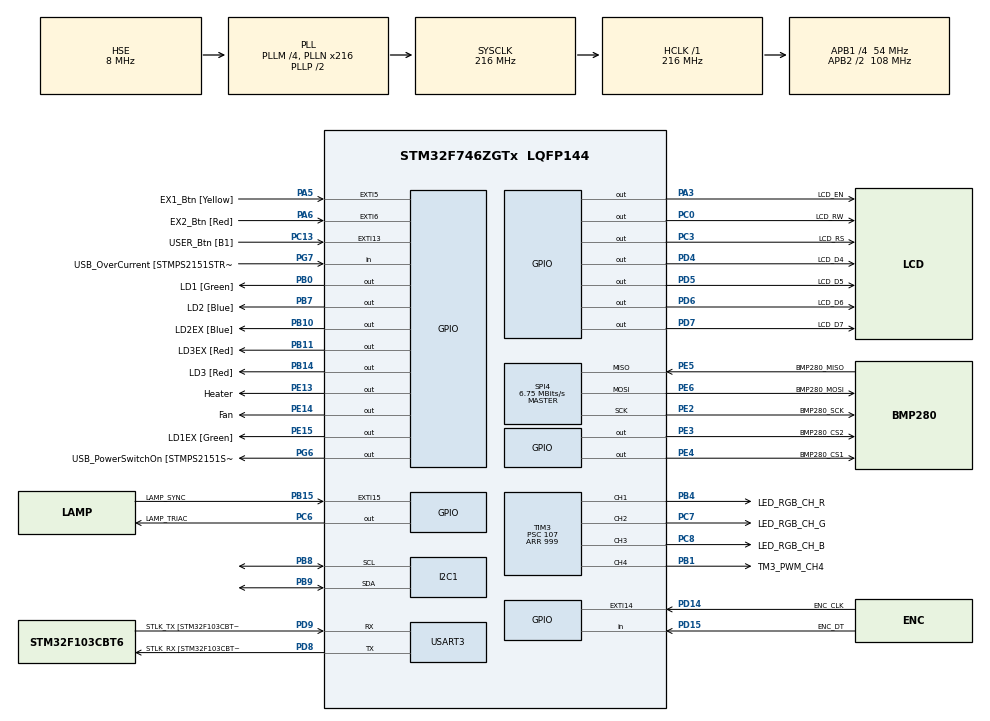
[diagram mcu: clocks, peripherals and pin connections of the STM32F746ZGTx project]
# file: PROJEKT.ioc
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I2C1.Timing=0x20404768
Mcu.Family=STM32F7
Mcu.Name=STM32F746ZGTx
Mcu.Package=LQFP144
NVIC.EXTI15_10_IRQn=true\:0\:0\:false\:false\:true\:true\:true
NVIC.EXTI9_5_IRQn=true\:0\:0\:false\:false\:true\:true\:true
NVIC.PriorityGroup=NVIC_PRIORITYGROUP_4
NVIC.TIM2_IRQn=true\:0\:0\:false\:false\:true\:true\:true
NVIC.TIM4_IRQn=true\:0\:0\:false\:false\:true\:true\:true
NVIC.USART3_IRQn=true\:0\:0\:false\:false\:true\:true\:true
PA1.GPIO_Label=RMII_REF_CLK [LAN8742A-CZ-TR_REFCLK0]
PA1.Signal=ETH_REF_CLK
PA10.GPIO_Label=USB_ID
PA10.Signal=USB_OTG_FS_ID
PA11.GPIO_Label=USB_DM
PA11.Signal=USB_OTG_FS_DM
PA12.GPIO_Label=USB_DP
PA12.Signal=USB_OTG_FS_DP
PA13.GPIO_Label=TMS
PA13.Mode=Serial_Wire
PA13.Signal=SYS_JTMS-SWDIO
PA14.GPIO_Label=TCK
PA14.Mode=Serial_Wire
PA14.Signal=SYS_JTCK-SWCLK
PA2.GPIO_Label=RMII_MDIO [LAN8742A-CZ-TR_MDIO]
PA2.Signal=ETH_MDIO
PA3.GPIO_Label=LCD_EN
PA3.Signal=GPIO_Output
PA5.GPIO_Label=EX1_Btn [Yellow]
PA5.GPIO_ModeDefaultEXTI=GPIO_MODE_IT_FALLING
PA5.Signal=GPXTI5
PA6.GPIO_Label=EX2_Btn [Red]
PA6.GPIO_ModeDefaultEXTI=GPIO_MODE_IT_RISING
PA6.Signal=GPXTI6
PA8.GPIO_Label=USB_SOF [TP1]
PA8.Signal=USB_OTG_FS_SOF
PA9.GPIO_Label=USB_VBUS
PA9.Signal=USB_OTG_FS_VBUS
PB0.GPIO_Label=LD1 [Green]
PB0.Signal=GPIO_Output
PB1.GPIO_Label=TM3_PWM_CH4
PB1.Signal=S_TIM3_CH4
PB10.GPIO_Label=LD2EX [Blue]
PB10.Signal=GPIO_Output
PB11.GPIO_Label=LD3EX [Red]
PB11.Signal=GPIO_Output
PB13.GPIO_Label=RMII_TXD1 [LAN8742A-CZ-TR_TXD1]
PB13.Signal=ETH_TXD1
PB14.GPIO_Label=LD3 [Red]
PB14.Signal=GPIO_Output
PB15.GPIO_Label=LAMP_SYNC
PB15.Signal=GPXTI15
PB3.GPIO_Label=SW0
PB3.Signal=SYS_JTDO-SWO
PB4.GPIO_Label=LED_RGB_CH_R
PB4.Signal=S_TIM3_CH1
PB7.GPIO_Label=LD2 [Blue]
PB7.Signal=GPIO_Output
PB8.GPIO_PuPdOD=GPIO_PULLUP
PB8.GPIO_Speed=GPIO_SPEED_FREQ_HIGH
PB8.Mode=I2C
PB8.Signal=I2C1_SCL
PB9.GPIO_Speed=GPIO_SPEED_FREQ_HIGH
PB9.Mode=I2C
PB9.Signal=I2C1_SDA
PC0.GPIO_Label=LCD_RW
PC0.Signal=GPIO_Output
PC1.GPIO_Label=RMII_MDC [LAN8742A-CZ-TR_MDC]
PC1.Signal=ETH_MDC
PC13.GPIO_Label=USER_Btn [B1]
PC13.Signal=GPXTI13
PC14/OSC32_IN.Mode=LSE-External-Oscillator
PC14/OSC32_IN.Signal=RCC_OSC32_IN
PC15/OSC32_OUT.Mode=LSE-External-Oscillator
PC15/OSC32_OUT.Signal=RCC_OSC32_OUT
PC3.GPIO_Label=LCD_RS
PC3.Signal=GPIO_Output
PC4.GPIO_Label=RMII_RXD0 [LAN8742A-CZ-TR_RXD0]
PC4.Signal=ETH_RXD0
PC5.GPIO_Label=RMII_RXD1 [LAN8742A-CZ-TR_RXD1]
PC5.Signal=ETH_RXD1
PC6.GPIO_Label=LAMP_TRIAC
PC6.GPIO_Speed=GPIO_SPEED_FREQ_HIGH
PC6.Signal=GPIO_Output
PC7.GPIO_Label=LED_RGB_CH_G
PC7.Signal=S_TIM3_CH2
PC8.GPIO_Label=LED_RGB_CH_B
PC8.Signal=S_TIM3_CH3
PD12.GPIO_Label=ENC_TIM_DT
PD12.Signal=S_TIM4_CH1
PD13.GPIO_Label=ENC_TIM_CLK
PD13.Signal=S_TIM4_CH2
PD14.GPIO_Label=ENC_CLK
PD14.GPIO_ModeDefaultEXTI=GPIO_MODE_IT_FALLING
PD14.Signal=GPXTI14
PD15.GPIO_Label=ENC_DT
PD15.Signal=GPIO_Input
PD4.GPIO_Label=LCD_D4
PD4.Signal=GPIO_Output
PD5.GPIO_Label=LCD_D5
PD5.Signal=GPIO_Output
PD6.GPIO_Label=LCD_D6
PD6.Signal=GPIO_Output
PD7.GPIO_Label=LCD_D7
PD7.Signal=GPIO_Output
PD8.GPIO_Label=STLK_RX [STM32F103CBT6_PA3]
PD8.Mode=Asynchronous
PD8.Signal=USART3_TX
PD9.GPIO_Label=STLK_TX [STM32F103CBT6_PA2]
PD9.Mode=Asynchronous
PD9.Signal=USART3_RX
PE13.GPIO_Label=Heater
PE13.Signal=GPIO_Output
PE14.GPIO_Label=Fan
PE14.Signal=GPIO_Output
PE15.GPIO_Label=LD1EX [Green]
PE15.Signal=GPIO_Output
PE2.GPIO_Label=BMP280_SCK
PE2.Mode=Full_Duplex_Master
PE2.Signal=SPI4_SCK
PE3.GPIO_Label=BMP280_CS2
PE3.GPIO_Speed=GPIO_SPEED_FREQ_VERY_HIGH
PE3.PinState=GPIO_PIN_SET
PE3.Signal=GPIO_Output
PE4.GPIO_Label=BMP280_CS1
PE4.GPIO_Speed=GPIO_SPEED_FREQ_VERY_HIGH
PE4.PinState=GPIO_PIN_SET
PE4.Signal=GPIO_Output
PE5.GPIO_Label=BMP280_MISO
PE5.Mode=Full_Duplex_Master
PE5.Signal=SPI4_MISO
PE6.GPIO_Label=BMP280_MOSI
PE6.Mode=Full_Duplex_Master
PE6.Signal=SPI4_MOSI
PG11.GPIO_Label=RMII_TX_EN [LAN8742A-CZ-TR_TXEN]
PG11.Signal=ETH_TX_EN
PG13.GPIO_Label=RMII_TXD0 [LAN8742A-CZ-TR_TXD0]
PG13.Signal=ETH_TXD0
PG6.GPIO_Label=USB_PowerSwitchOn [STMPS2151STR_EN]
PG6.Signal=GPIO_Output
PG7.GPIO_Label=USB_OverCurrent [STMPS2151STR_FAULT]
PG7.Signal=GPIO_Input
PH0/OSC_IN.GPIO_Label=MCO [STM32F103CBT6_PA8]
PH0/OSC_IN.Mode=HSE-External-Clock-Source
PH0/OSC_IN.Signal=RCC_OSC_IN
PH1/OSC_OUT.Mode=HSE-External-Clock-Source
PH1/OSC_OUT.Signal=RCC_OSC_OUT
ProjectManager.HeapSize=0x200
ProjectManager.StackSize=0x400
ProjectManager.TargetToolchain=STM32CubeIDE
RCC.48MHZClocksFreq_Value=24000000
RCC.AHBFreq_Value=216000000
RCC.APB1CLKDivider=RCC_HCLK_DIV4
RCC.APB1Freq_Value=54000000
RCC.APB1TimFreq_Value=108000000
RCC.APB2CLKDivider=RCC_HCLK_DIV2
RCC.APB2Freq_Value=108000000
RCC.APB2TimFreq_Value=216000000
RCC.CortexFreq_Value=216000000
RCC.HCLKFreq_Value=216000000
RCC.HSE_VALUE=8000000
RCC.HSI_VALUE=16000000
RCC.PLLM=4
RCC.PLLMUL=RCC_PLL_MUL9
RCC.PLLN=216
RCC.PLLQ=3
RCC.PLLSourceVirtual=RCC_PLLSOURCE_HSE
RCC.PRESCALERUSB=RCC_USBCLKSOURCE_PLL_DIV1_5
RCC.SYSCLKFreq_VALUE=216000000
RCC.SYSCLKSource=RCC_SYSCLKSOURCE_PLLCLK
RCC.SYSCLKSourceVirtual=RCC_SYSCLKSOURCE_PLLCLK
RCC.USBFreq_Value=144000000
RCC.VCOOutputFreq_Value=432000000
SH.S_TIM3_CH1.0=TIM3_CH1,PWM Generation1 CH1
SH.S_TIM3_CH2.0=TIM3_CH2,PWM Generation2 CH2
SH.S_TIM3_CH3.0=TIM3_CH3,PWM Generation3 CH3
SH.S_TIM3_CH4.0=TIM3_CH4,PWM Generation4 CH4
SH.S_TIM4_CH1.0=TIM4_CH1
SH.S_TIM4_CH2.0=TIM4_CH2
SPI4.BaudRatePrescaler=SPI_BAUDRATEPRESCALER_16
SPI4.CLKPhase=SPI_PHASE_2EDGE
SPI4.CLKPolarity=SPI_POLARITY_HIGH
SPI4.CalculateBaudRate=6.75 MBits/s
SPI4.DataSize=SPI_DATASIZE_8BIT
SPI4.Direction=SPI_DIRECTION_2LINES
SPI4.Mode=SPI_MODE_MASTER
SPI4.VirtualType=VM_MASTER
TIM2.Period=4999
TIM2.Prescaler=107
TIM3.Channel-PWM\ Generation1\ CH1=TIM_CHANNEL_1
TIM3.Channel-PWM\ Generation2\ CH2=TIM_CHANNEL_2
TIM3.Channel-PWM\ Generation3\ CH3=TIM_CHANNEL_3
TIM3.Channel-PWM\ Generation4\ CH4=TIM_CHANNEL_4
TIM3.Period=999
TIM3.Prescaler=107
TIM3.Pulse-PWM\ Generation2\ CH2=0
TIM3.Pulse-PWM\ Generation3\ CH3=0
TIM4.Period=19999
TIM4.Prescaler=107
TIM5.Prescaler=107
TIM6.Period=999
TIM6.Prescaler=107
TIM6.TIM_MasterOutputTrigger=TIM_TRGO_UPDATE
TIM7.Period=999
TIM7.Prescaler=107
USART3.VirtualMode-Asynchronous=VM_ASYNC
VP_TIM2_VS_ClockSourceINT.Mode=Internal
VP_TIM3_VS_ClockSourceINT.Mode=Internal
VP_TIM4_VS_ClockSourceINT.Mode=Internal
VP_TIM5_VS_ClockSourceINT.Mode=Internal
VP_TIM6_VS_ClockSourceINT.Mode=Enable_Timer
VP_TIM7_VS_ClockSourceINT.Mode=Enable_Timer
board=NUCLEO-F746ZG

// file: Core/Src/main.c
/* USER CODE BEGIN Header */
/**
  ******************************************************************************
  * @file           : main.c
  * @brief          : Main program body
  ******************************************************************************
  * @attention
  *
  * <h2><center>&copy; Copyright (c) 2020 STMicroelectronics.
  * All rights reserved.</center></h2>
  *
  * This software component is licensed by ST under BSD 3-Clause license,
  * the "License"; You may not use this file except in compliance with the
  * License. You may obtain a copy of the License at:
  *                        opensource.org/licenses/BSD-3-Clause
  *
  ******************************************************************************
  */
/* USER CODE END Header */
#include "main.h"
#include "i2c.h"
#include "spi.h"
#include "tim.h"
#include "usart.h"
#include "gpio.h"

/* USER CODE BEGIN Includes */
#include "bmp280.h"
#include "stdlib.h"
#include "lcd_config.h"
#include "States.h"
/* USER CODE END Includes */

/* USER CODE BEGIN PD */
#define BMP280_DATA_INDEX 1
#define BMP280_ADDRESS_INDEX 2
const int SPI_BUFFER_LEN= 28;
/* USER CODE END PD */

/* USER CODE BEGIN PV */
TIM_HandleTypeDef htim4;

uint8_t Received[4];
double TempRef=30;
char buffer[100];
uint8_t size;
uint8_t error;
double TempDif=0;
static unsigned short heater_state = 0;
static unsigned short fan_state = 0;
static unsigned short ld1ex_state = 0;
static unsigned short ld2ex_state = 0;
static unsigned short ld3ex_state = 0;
double TempRecived;
float TempSVW=0;
double temp;
/* USER CODE END PV */

void SystemClock_Config(void);
/* USER CODE BEGIN PFP */

/**
 *
 * @brief HAL_UART_RxCpltCallback it's job is to return information
 * if data sent via UART is incorrect,
 * or to set received data as TempRef if data is correct.
 * Also at the same time it's shows information on second line of LCD.
 * To make it easier for user to notice we put LCD screen to sleep for 1s,
 * it doesn't change anything, because with current parts even if we take
 * each read from sensor in 1ms, any change will be noticeable after 1s.
 *
 * @param huart it's a UART3 handler
 */

void HAL_UART_RxCpltCallback (UART_HandleTypeDef *huart)
{
	TempRecived=atof(&Received);
	if (TempRecived < 21.0)
	{
		error = sprintf(buffer,"Incorrect value\n\r ");
		HAL_UART_Transmit(&huart3, (uint8_t*)buffer, error, 200);
		LCD_SetCursor(&hlcd1, 1, 0);
		LCD_printf(&hlcd1, "Incorrect value");
		lcd_delay_us(&hlcd1, 1000000);
		LCD_Clear(&hlcd1);

	}
	else if (TempRecived > 30.0)
	{
		error = sprintf(buffer,"Incorrect value\n\r ");
		HAL_UART_Transmit(&huart3, (uint8_t*)buffer, error, 200);
		LCD_SetCursor(&hlcd1, 1, 0);
		LCD_printf(&hlcd1, "Incorrect value");
		lcd_delay_us(&hlcd1, 1000000);
		LCD_Clear(&hlcd1);
	}
	else
	{
		TempRef=(atof(&Received));
		LCD_SetCursor(&hlcd1, 1, 0);
		LCD_printf(&hlcd1, "Set %4.2f[degC]", TempRef);
		lcd_delay_us(&hlcd1, 1000000);
		LCD_Clear(&hlcd1);
	}

}

int8_t spi_reg_write(uint8_t cs, uint8_t reg_addr, uint8_t *reg_data, uint16_t length);
int8_t spi_reg_read(uint8_t cs, uint8_t reg_addr, uint8_t *reg_data, uint16_t length);
/* USER CODE END PFP */

/* USER CODE BEGIN 0 */

void HAL_TIM_PeriodElapsedCallback(TIM_HandleTypeDef *htim)
{
    if (htim->Instance == TIM4)
        {
    		 /**Transmitting the temperature via UART*/
    		 size = sprintf(buffer,"Temperature %4.2f [degC]\n\r ", temp);
    	     HAL_UART_Transmit(&huart3, (uint8_t*)buffer, size, 100);

    	     /**Transmitting the temperature via LCD*/
    	     LCD_SetCursor(&hlcd1, 0, 0);
    	     LCD_printf(&hlcd1, "Temp %4.2f[degC]" , temp);
        }
}

/* USER CODE END 0 */

int main(void)
{
  /* USER CODE BEGIN 1 */
	int8_t rslt;
	struct bmp280_dev bmp;
	struct bmp280_config conf;
	struct bmp280_uncomp_data ucomp_data;
	int32_t temp32;

  /* USER CODE END 1 */

  /* MCU Configuration--------------------------------------------------------*/

  /* Reset of all peripherals, Initializes the Flash interface and the Systick. */
  HAL_Init();

  /* Configure the system clock */
  SystemClock_Config();

  /* Initialize all configured peripherals */
  MX_GPIO_Init();
  MX_USART3_UART_Init();
  MX_TIM2_Init();
  MX_TIM3_Init();
  MX_TIM4_Init();
  MX_I2C1_Init();
  MX_SPI4_Init();
  MX_TIM5_Init();
  MX_TIM6_Init();
  MX_TIM7_Init();
  /* USER CODE BEGIN 2 */

  bmp.delay_ms=HAL_Delay;
  bmp.dev_id = 0;
  bmp.read = spi_reg_read;
  bmp.write = spi_reg_write;
  bmp.intf = BMP280_SPI_INTF;

 rslt = bmp280_init(&bmp);

 /* Always read the current settings before writing, especially when
  * all the configuration is not modified
  */
 rslt = bmp280_get_config(&conf, &bmp);

 /* configuring the temperature oversampling, filter coefficient and output data rate */
 /* Overwrite the desired settings */
 conf.filter = BMP280_FILTER_COEFF_2;

 /* Temperature oversampling set at 4x */
 conf.os_temp = BMP280_OS_4X;

 /* Pressure over sampling none (disabling pressure measurement) */
 conf.os_pres = BMP280_OS_NONE;

 /* Setting the output data rate as 1HZ(1000ms) */
 conf.odr = BMP280_ODR_1000_MS;
 rslt = bmp280_set_config(&conf, &bmp);

 /* Always set the power mode after setting the configuration */
 rslt = bmp280_set_power_mode(BMP280_NORMAL_MODE, &bmp);

 HAL_TIM_Base_Start_IT(&htim4);

 LCD_Init(&hlcd1);
  /* USER CODE END 2 */

  /* Infinite loop */
  /* USER CODE BEGIN WHILE */
  while (1)
  {
	  /** Reading the raw data from sensor */
     rslt = bmp280_get_uncomp_data(&ucomp_data, &bmp);

     /** Getting the compensated temperature as floating point value */
     rslt = bmp280_get_comp_temp_double(&temp, ucomp_data.uncomp_temp, &bmp);

     /** Sleep time between measurements = BMP280_ODR_2000_MS */
     bmp.delay_ms(100);

     /** States_Run function callback */
     States_Run(heater_state,fan_state,ld1ex_state,ld2ex_state,ld1ex_state);

     /** Receiving Referenced temperature*/
     HAL_UART_Receive_IT(&huart3, Received, 4);

     /** States_Run function callback*/
     States_Change(TempRef, temp);

     HAL_Delay(1);

     /** Conversion to float in case of Serial Wire Viewer use*/
     TempSVW= (float)temp;

    /* USER CODE END WHILE */

  }
}

void SystemClock_Config(void)
{
  RCC_OscInitTypeDef RCC_OscInitStruct = {0};
  RCC_ClkInitTypeDef RCC_ClkInitStruct = {0};
  RCC_PeriphCLKInitTypeDef PeriphClkInitStruct = {0};

  /** Configure LSE Drive Capability
  */
  HAL_PWR_EnableBkUpAccess();
  /** Configure the main internal regulator output voltage
  */
  __HAL_RCC_PWR_CLK_ENABLE();
  __HAL_PWR_VOLTAGESCALING_CONFIG(PWR_REGULATOR_VOLTAGE_SCALE1);
  /** Initializes the RCC Oscillators according to the specified parameters
  * in the RCC_OscInitTypeDef structure.
  */
  RCC_OscInitStruct.OscillatorType = RCC_OSCILLATORTYPE_HSE;
  RCC_OscInitStruct.HSEState = RCC_HSE_BYPASS;
  RCC_OscInitStruct.PLL.PLLState = RCC_PLL_ON;
  RCC_OscInitStruct.PLL.PLLSource = RCC_PLLSOURCE_HSE;
  RCC_OscInitStruct.PLL.PLLM = 4;
  RCC_OscInitStruct.PLL.PLLN = 216;
  RCC_OscInitStruct.PLL.PLLP = RCC_PLLP_DIV2;
  RCC_OscInitStruct.PLL.PLLQ = 3;
  if (HAL_RCC_OscConfig(&RCC_OscInitStruct) != HAL_OK)
  {
    Error_Handler();
  }
  /** Activate the Over-Drive mode
  */
  if (HAL_PWREx_EnableOverDrive() != HAL_OK)
  {
    Error_Handler();
  }
  /** Initializes the CPU, AHB and APB buses clocks
  */
  RCC_ClkInitStruct.ClockType = RCC_CLOCKTYPE_HCLK|RCC_CLOCKTYPE_SYSCLK
                              |RCC_CLOCKTYPE_PCLK1|RCC_CLOCKTYPE_PCLK2;
  RCC_ClkInitStruct.SYSCLKSource = RCC_SYSCLKSOURCE_PLLCLK;
  RCC_ClkInitStruct.AHBCLKDivider = RCC_SYSCLK_DIV1;
  RCC_ClkInitStruct.APB1CLKDivider = RCC_HCLK_DIV4;
  RCC_ClkInitStruct.APB2CLKDivider = RCC_HCLK_DIV2;

  if (HAL_RCC_ClockConfig(&RCC_ClkInitStruct, FLASH_LATENCY_7) != HAL_OK)
  {
    Error_Handler();
  }
  PeriphClkInitStruct.PeriphClockSelection = RCC_PERIPHCLK_USART3|RCC_PERIPHCLK_I2C1;
  PeriphClkInitStruct.Usart3ClockSelection = RCC_USART3CLKSOURCE_PCLK1;
  PeriphClkInitStruct.I2c1ClockSelection = RCC_I2C1CLKSOURCE_PCLK1;
  if (HAL_RCCEx_PeriphCLKConfig(&PeriphClkInitStruct) != HAL_OK)
  {
    Error_Handler();
  }
}

/* USER CODE BEGIN 4 */
//Functions bellow are provided by the manufacturer of the sensor

/*!
 * @brief Function for writing the sensor 's registers through SPI bus.
 *
 * @param [in] cs : Chip select to enable the sensor .
 * @param [in] reg_addr : Register address .
 * @param [in] reg_data : Pointer to the data buffer whose data has to be written .
 * @param [in] length : No of bytes to write .
 *
 * @return Status of execution
 * @retval 0 -> Success
 * @retval >0 -> Failure Info
 */
int8_t spi_reg_write(uint8_t cs, uint8_t reg_addr, uint8_t *reg_data, uint16_t length)
{

	/* Implement the SPI write routine according to the target machine . */
	HAL_StatusTypeDef status = HAL_OK ;
	int32_t iError = BMP280_OK ;
	uint8_t txarray [ SPI_BUFFER_LEN * BMP280_ADDRESS_INDEX ];
	uint8_t stringpos ;

	txarray [0] = reg_addr ;
	for ( stringpos = 0; stringpos < length ; stringpos ++) {
	txarray [ stringpos + BMP280_DATA_INDEX ] = reg_data [ stringpos ];
	 }

	HAL_GPIO_WritePin ( BMP280_CS1_GPIO_Port , BMP280_CS1_Pin , GPIO_PIN_RESET );
	status = HAL_SPI_Transmit ( &hspi4 , ( uint8_t *)(& txarray ), length *2, 100);
	while ( hspi4 . State == HAL_SPI_STATE_BUSY ) {};
	HAL_GPIO_WritePin ( BMP280_CS1_GPIO_Port , BMP280_CS1_Pin , GPIO_PIN_SET );

	if ( status != HAL_OK )
	{
	iError = ( -1);
	}
	return ( int8_t ) iError ;
}
/*!
 * @brief Function for reading the sensor 's registers through SPI bus.
 *
 * @param [in] cs : Chip select to enable the sensor .
 * @param [in] reg_addr : Register address .
 * @param [ out] reg_data : Pointer to the data buffer to store the read data .
 * @param [in] length : No of bytes to read .
 *
 * @return Status of execution
 * @retval 0 -> Success
 * @retval >0 -> Failure Info
 */
int8_t spi_reg_read(uint8_t cs, uint8_t reg_addr, uint8_t *reg_data, uint16_t length)
{

	/* Implement the SPI read routine according to the target machine . */
	HAL_StatusTypeDef status = HAL_OK ;
	int32_t iError = BMP280_OK ;
	uint8_t txarray [ 28 ] = {0 ,};
	uint8_t rxarray [ 28 ] = {0 ,};
	uint8_t stringpos ;

	txarray [0] = reg_addr ;

	HAL_GPIO_WritePin ( BMP280_CS1_GPIO_Port , BMP280_CS1_Pin , GPIO_PIN_RESET );
	status = HAL_SPI_TransmitReceive ( &hspi4 , ( uint8_t *)(& txarray ),( uint8_t *)(& rxarray ), length +1, 5);
	while ( hspi4 . State == HAL_SPI_STATE_BUSY ) {};
	HAL_GPIO_WritePin ( BMP280_CS1_GPIO_Port , BMP280_CS1_Pin , GPIO_PIN_SET );

	for ( stringpos = 0; stringpos < length ; stringpos ++)
	{
		*( reg_data + stringpos ) = rxarray [ stringpos + BMP280_DATA_INDEX ];
	}

	if ( status != HAL_OK )
	{
	iError = ( -1);
	}
	return ( int8_t ) iError ;
}

/**
  * @brief TIM4 Initialization Function
  * @param None
  * @retval None
  */
/* USER CODE END 4 */

void Error_Handler(void)
{
}

/************************ (C) COPYRIGHT STMicroelectronics *****END OF FILE****/
